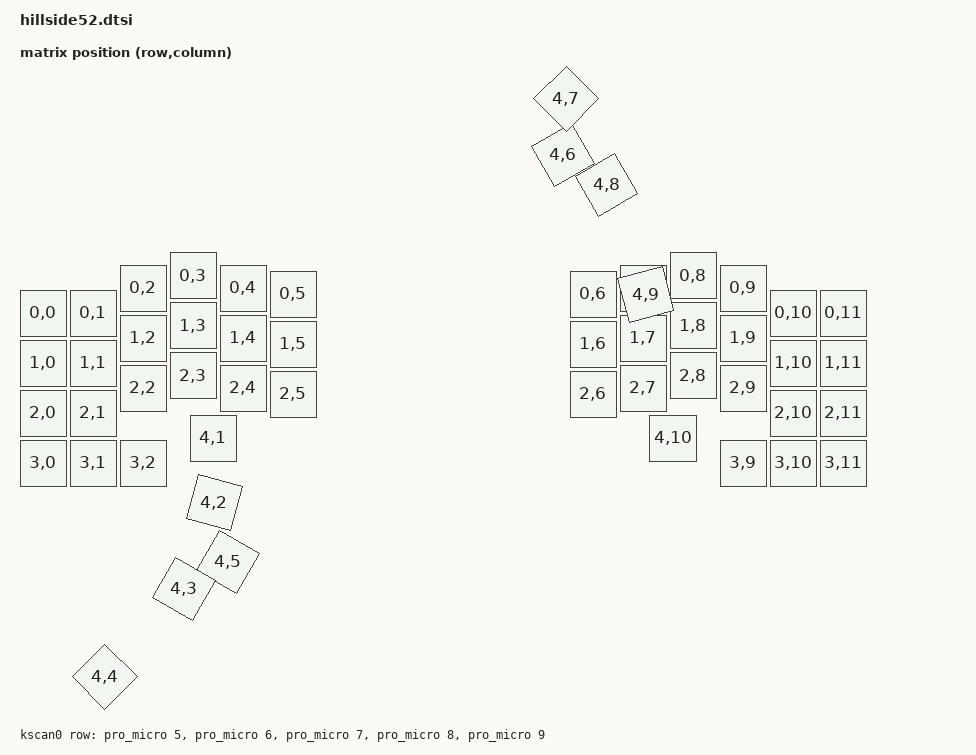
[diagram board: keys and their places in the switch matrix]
#include <dt-bindings/zmk/matrix_transform.h>
#include <physical_layouts.dtsi>

/ {
    chosen {
        zmk,kscan = &kscan0;
        zmk,matrix_transform = &default_transform;
        zmk,physical-layout = &physical_layout0;
    };

    default_transform: keymap_transform_0 {
        compatible = "zmk,matrix-transform";
        columns = <12>;
        rows = <5>;
// | SW1  | SW2  | SW3  | SW4  | SW5  | SW6  |                                   | SW6  | SW5  | SW4  | SW3  | SW2  | SW1  |
// | SW7  | SW8  | SW9  | SW10 | SW11 | SW12 |                                   | SW12 | SW11 | SW10 | SW9  | SW8  | SW7  |
// | SW13 | SW14 | SW15 | SW16 | SW17 | SW18 / SW19 /                     \ SW19 \ SW18 | SW17 | SW16 | SW15 | SW14 | SW13 |
// | SW20 | SW21 | SW22    | SW23 / SW24 / SW25 / SW26 /               \ SW26 \ SW25 \ SW24 \ SW23 |    SW22 | SW21 | SW20 |
        map = <
RC(0,0) RC(0,1) RC(0,2) RC(0,3) RC(0,4) RC(0,5)                                   RC(0,6) RC(0,7) RC(0,8) RC(0,9) RC(0,10) RC(0,11)
RC(1,0) RC(1,1) RC(1,2) RC(1,3) RC(1,4) RC(1,5)                                   RC(1,6) RC(1,7) RC(1,8) RC(1,9) RC(1,10) RC(1,11)
RC(2,0) RC(2,1) RC(2,2) RC(2,3) RC(2,4) RC(2,5) RC(4,5)                   RC(4,6) RC(2,6) RC(2,7) RC(2,8) RC(2,9) RC(2,10) RC(2,11)
RC(3,0) RC(3,1) RC(3,2)         RC(4,1) RC(4,2) RC(4,3) RC(4,4)   RC(4,7) RC(4,8) RC(4,9) RC(4,10)        RC(3,9) RC(3,10) RC(3,11)
        >;
    };

    physical_layout0: physical_layout_0 {
        compatible = "zmk,physical-layout";
        display-name = "Default Layout";
        transform = <&default_transform>;
        kscan = <&kscan0>;

        keys  //                     w   h    x    y     rot    rx    ry
            = <&key_physical_attrs 100 100    0   75       0     0     0>
            , <&key_physical_attrs 100 100  100   75       0     0     0>
            , <&key_physical_attrs 100 100  200   25       0     0     0>
            , <&key_physical_attrs 100 100  300    0       0     0     0>
            , <&key_physical_attrs 100 100  400   25       0     0     0>
            , <&key_physical_attrs 100 100  500   37       0     0     0>
            , <&key_physical_attrs 100 100 1100   37       0     0     0>
            , <&key_physical_attrs 100 100 1200   25       0     0     0>
            , <&key_physical_attrs 100 100 1300    0       0     0     0>
            , <&key_physical_attrs 100 100 1400   25       0     0     0>
            , <&key_physical_attrs 100 100 1500   75       0     0     0>
            , <&key_physical_attrs 100 100 1600   75       0     0     0>
            , <&key_physical_attrs 100 100    0  175       0     0     0>
            , <&key_physical_attrs 100 100  100  175       0     0     0>
            , <&key_physical_attrs 100 100  200  125       0     0     0>
            , <&key_physical_attrs 100 100  300  100       0     0     0>
            , <&key_physical_attrs 100 100  400  125       0     0     0>
            , <&key_physical_attrs 100 100  500  137       0     0     0>
            , <&key_physical_attrs 100 100 1100  137       0     0     0>
            , <&key_physical_attrs 100 100 1200  125       0     0     0>
            , <&key_physical_attrs 100 100 1300  100       0     0     0>
            , <&key_physical_attrs 100 100 1400  125       0     0     0>
            , <&key_physical_attrs 100 100 1500  175       0     0     0>
            , <&key_physical_attrs 100 100 1600  175       0     0     0>
            , <&key_physical_attrs 100 100    0  275       0     0     0>
            , <&key_physical_attrs 100 100  100  275       0     0     0>
            , <&key_physical_attrs 100 100  200  225       0     0     0>
            , <&key_physical_attrs 100 100  300  200       0     0     0>
            , <&key_physical_attrs 100 100  400  225       0     0     0>
            , <&key_physical_attrs 100 100  500  237       0     0     0>
            , <&key_physical_attrs 100 100  625  280    3000     0     0>
            , <&key_physical_attrs 100 100  990  330   -3000     0     0>
            , <&key_physical_attrs 100 100 1100  237       0     0     0>
            , <&key_physical_attrs 100 100 1200  225       0     0     0>
            , <&key_physical_attrs 100 100 1300  200       0     0     0>
            , <&key_physical_attrs 100 100 1400  225       0     0     0>
            , <&key_physical_attrs 100 100 1500  275       0     0     0>
            , <&key_physical_attrs 100 100 1600  275       0     0     0>
            , <&key_physical_attrs 100 100    0  375       0     0     0>
            , <&key_physical_attrs 100 100  100  375       0     0     0>
            , <&key_physical_attrs 100 100  200  375       0     0     0>
            , <&key_physical_attrs 100 100  340  325       0     0     0>
            , <&key_physical_attrs 100 100  460  335    1500     0     0>
            , <&key_physical_attrs 100 100  575  370    3000     0     0>
            , <&key_physical_attrs 100 100  675  430    4500     0     0>
            , <&key_physical_attrs 100 100  940  510   -4500     0     0>
            , <&key_physical_attrs 100 100 1035  425   -3000     0     0>
            , <&key_physical_attrs 100 100 1140  360   -1500     0     0>
            , <&key_physical_attrs 100 100 1260  325       0     0     0>
            , <&key_physical_attrs 100 100 1400  375       0     0     0>
            , <&key_physical_attrs 100 100 1500  375       0     0     0>
            , <&key_physical_attrs 100 100 1600  375       0     0     0>
            ;

    };

    kscan0: kscan {
        compatible = "zmk,kscan-gpio-matrix";
        label = "KSCAN";

    diode-direction = "col2row";
        row-gpios
            = <&pro_micro 5 (GPIO_ACTIVE_HIGH | GPIO_PULL_DOWN)>
            , <&pro_micro 6 (GPIO_ACTIVE_HIGH | GPIO_PULL_DOWN)>
            , <&pro_micro 7 (GPIO_ACTIVE_HIGH | GPIO_PULL_DOWN)>
            , <&pro_micro 8 (GPIO_ACTIVE_HIGH | GPIO_PULL_DOWN)>
            , <&pro_micro 9 (GPIO_ACTIVE_HIGH | GPIO_PULL_DOWN)>
            ;
    };   
};
